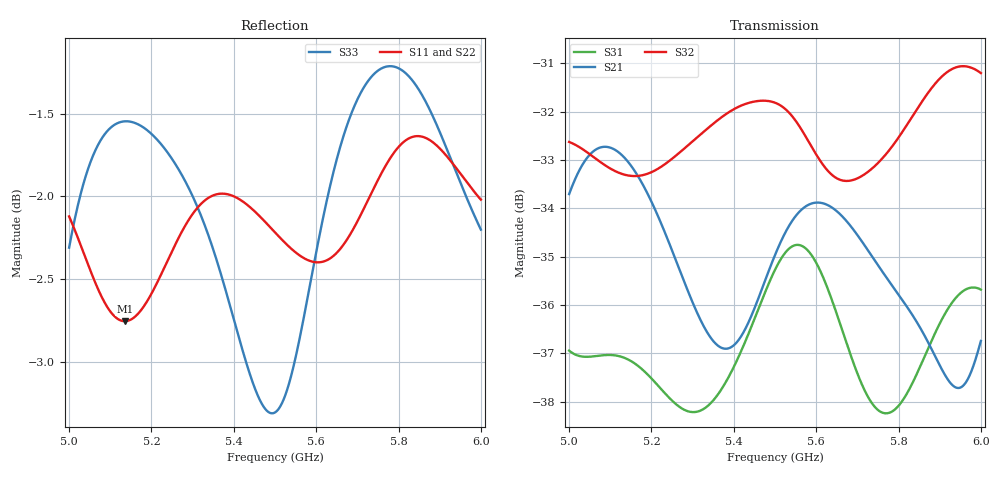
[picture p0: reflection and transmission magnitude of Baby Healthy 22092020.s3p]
! TOUCHSTONE file generated by CST MICROWAVE STUDIO
! Date and time: Wed Sep 23 10:22:10 2020
! Project name: Baby Lung.cst
! Header version: 2018
! Port assignment regex: !\s*Touchstone port\s*([0-9]+)\s*=\s*(CST MWS port|CST DS port)\s*([0-9]+|Zmin|Zmax)\s*\(\"(.*)\"\)(\s*mode\s*([0-9]+))?.*
! Touchstone port assignment:
! Touchstone port 1 = CST MWS port 1 ("")
! Touchstone port 2 = CST MWS port 2 ("")
! Touchstone port 3 = CST MWS port 3 ("")
# GHz S RI R 50
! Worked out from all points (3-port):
!   1001 points, 5 GHz to 6 GHz, reference 50 ohm
!   strongest paths, dB at 5 GHz, 5.25 GHz, 5.5 GHz, 5.75 GHz, 6 GHz:
!     S32: -32.6, -33.0, -31.8, -33.1, -31.2
!     S21: -33.7, -34.9, -35.0, -35.2, -36.7
!     S31: -36.9, -38.0, -35.3, -38.2, -35.7
!   lowest |S11| = -2.8 dB at 5.135 GHz (marker M1), VSWR 6.36, Z = 318 - j12.5 ohm
!   |S11| at or under -10 dB: nowhere
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5  0.7807 -0.0637  -0.0129 -0.0161  0.00925 -0.0108
   -0.0129 -0.0161  0.7555 -0.0462  0.0226 -0.0058
   0.00925 -0.0108  0.0226 -0.00581  0.7633 0.0701
5.135  0.7282 -0.00922  -0.00729 0.0213  -0.0124 -0.0065
       -0.00729 0.0213  0.7614 0.00249  -0.0112 -0.0185
       -0.0124 -0.0065  -0.0112 -0.0185  0.8369 0.00751
5.244  0.7609 0.0378  0.0176 0.00513  -0.00734 0.0104
       0.0176 0.00513  0.7698 0.00931  -0.0207 0.00845
       -0.00734 0.0104  -0.0207 0.00845  0.8164 -0.0394
5.365  0.7955 0.0206  0.00508 -0.0134  0.00921 0.009
       0.00508 -0.0134  0.7718 0.012  0.0111 0.022
       0.00921 0.009  0.0111 0.022  0.753 -0.0574
5.5  0.7747 0.00488  -0.0171 -0.00503  0.00904 -0.0147
     -0.0171 -0.00503  0.7684 0.0315  0.017 -0.0192
     0.00904 -0.0147  0.017 -0.0192  0.6826 0.0351
5.558  0.7625 0.0149  -0.0164 0.011  -0.00665 -0.017
       -0.0164 0.011  0.7782 0.0398  -0.00283 -0.0241
       -0.00665 -0.017  -0.00283 -0.0241  0.7111 0.0973
5.616  0.7583 0.0339  -0.00155 0.0201  -0.0163 -0.00468
       -0.00155 0.0201  0.7882 0.0389  -0.0172 -0.014
       -0.0163 -0.00468  -0.0172 -0.014  0.772 0.1231
5.767  0.8084 0.0619  0.0147 -0.0086  0.000206 0.0122
       0.0147 -0.0086  0.8001 0.0363  -0.00878 0.0209
       0.000206 0.0122  -0.00878 0.0209  0.8678 0.048
5.935  0.8116 0.00933  -0.011 -0.00699  0.0138 -0.00822
       -0.011 -0.00699  0.7972 0.0331  0.0256 -0.011
       0.0138 -0.00822  0.0256 -0.011  0.81 -0.0318
6  0.7924 0.0116  -0.0145 0.00111  0.00107 -0.0164
   -0.0145 0.00111  0.8028 0.0364  0.00453 -0.0272
   0.00107 -0.0164  0.0045 -0.0272  0.7758 -0.0239
